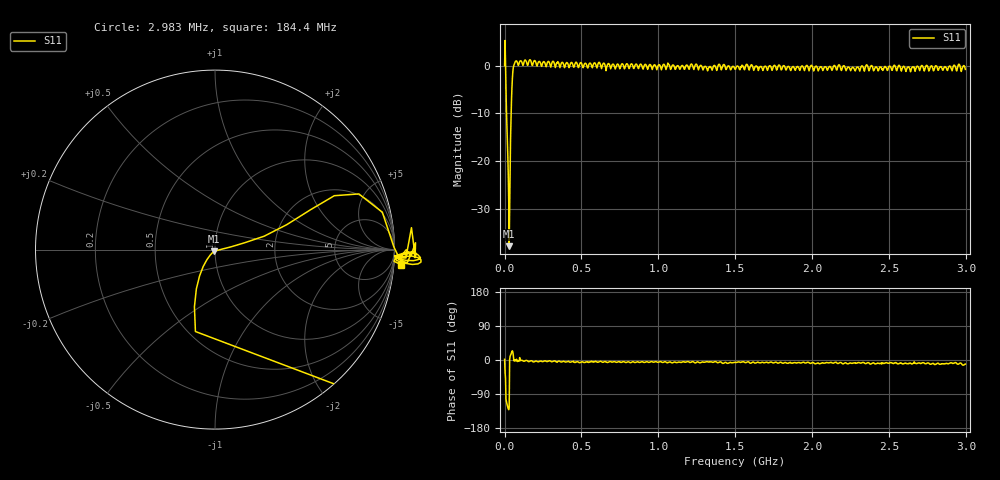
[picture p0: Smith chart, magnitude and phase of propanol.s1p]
# HZ S RI R 50
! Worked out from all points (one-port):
!   1009 points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, 10 kHz to 2.997 GHz, reference 50 ohm
!   lowest |S11| = -37.8 dB at 29.74 MHz (marker M1), VSWR 1.03, Z = 49.2 - j1.02 ohm
!   |S11| at or under -10 dB: 12.51 MHz to 42.44 MHz (29.93 MHz wide, 109 % of centre)
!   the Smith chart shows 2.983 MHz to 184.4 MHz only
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10000  1 0.0311
8929693  -0.109 -0.4564
1.784939e7  -0.086 -0.1467
2.082262e7  -0.0659 -0.0944
2.379585e7  -0.0454 -0.0566
2.974231e7  -0.00757 -0.0104
3.8662e7  0.1658 0.0383
4.460846e7  0.4004 0.1393
5.055493e7  0.6648 0.3003
5.352816e7  0.8017 0.3102
5.947462e7  0.9966 0.0148
6.839431e7  1.09 -0.031
7.731401e7  1.117 0.0382
1.992165e8  1.114 -0.0665
3.746371e8  1.079 -0.0861
7.492642e8  0.9231 -0.0697
1.123891e9  0.9901 -0.1136
1.227954e9  0.9244 -0.0759
1.334991e9  0.974 -0.0855
1.498518e9  0.9092 -0.0961
1.873146e9  0.9589 -0.143
2.164522e9  0.9309 -0.1447
2.247773e9  0.8921 -0.1224
2.345889e9  0.9438 -0.1572
2.6224e9  0.95 -0.166
2.842419e9  0.9364 -0.1604
2.922696e9  0.9983 -0.147
2.997027e9  0.8957 -0.1703
